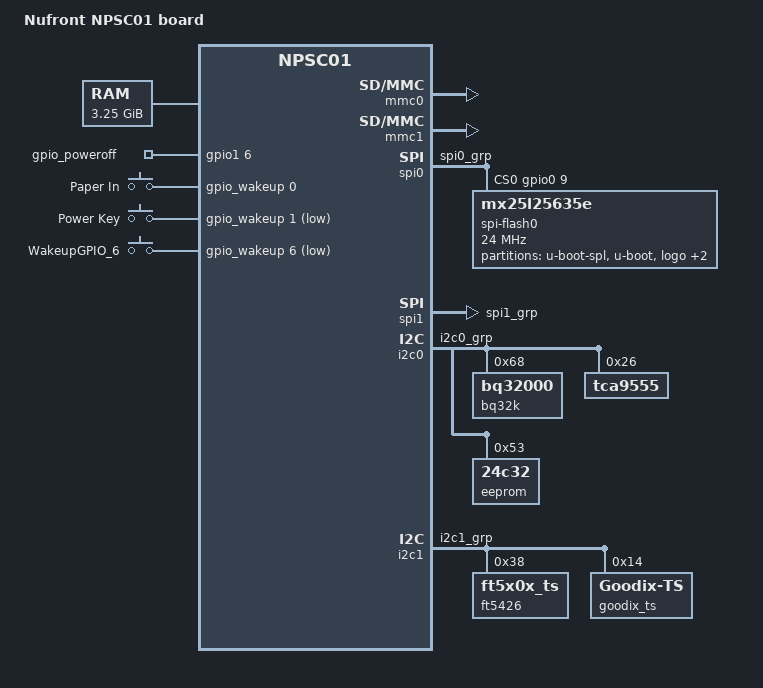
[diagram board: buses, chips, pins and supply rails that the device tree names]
/*
 * Copyright (C) 2014 Nufront Corporation
 *
 * This program is free software; you can redistribute it and/or
 * modify it under the terms of the GNU General Public License as
 * published by the Free Software Foundation version 2.
 *
 * This program is distributed "as is" WITHOUT ANY WARRANTY of any
 * kind, whether express or implied; without even the implied warranty
 * of MERCHANTABILITY or FITNESS FOR A PARTICULAR PURPOSE.  See the
 * GNU General Public License for more details.
 */

/dts-v1/;

#include "nufront-npsc01.dtsi"
#include "dt-bindings/gpio/gpio.h"
/ {
	model = "Nufront NPSC01 board";
	compatible = "nufront,npsc01-vm3-board", "nufront,npsc01";

	chosen {
		bootargs = "console=ttyS0,115200 mem=1024M root=/dev/mmcblk0p2 rw rootwait init=/init";
	};

	memory {
		reg = <0x90000000 0xd0000000>; /* 1024 MB */
	};
	soc {
		LVDS: LVDS {
			panel = "npsc01_lvds";
		};
	};

    gpio_poweroff {
          compatible = "gpio-poweroff";
          gpios = <&gpio1 6 GPIO_ACTIVE_HIGH>; /* A9GPIO[22] GPIO_ACTIVE_HIGH:0*/
    };

	gpio_keys {
		  compatible = "gpio-keys";
		  #address-cells = <1>;
		  #size-cells = <0>;
		 button0@0 {
			    label = "Paper In";
			    linux,code = <195>;  /*1->116 , S2: 116 will paper in wake-up from S2 , but S3 should set 1*/
			    gpios = <&gpio_wakeup 0 GPIO_ACTIVE_HIGH>; /*paper in active high, GPIO_ACTIVE_HIGH:0*/
			    gpio-key,wakeup;
				linux,can-disable;
                debounce-interval = <200>;
		  };
		  button1@1 {
		  	    label = "Power Key";
			    linux,code = <116>;
			    gpios = <&gpio_wakeup 1 GPIO_ACTIVE_LOW>; 
			    gpio-key,wakeup;
				linux,can-disable;
				debounce-interval = <20>;
		  };

		  button6@6 {
			    label = "WakeupGPIO_6";
			    linux,code = <7>;
			    gpios = <&gpio_wakeup 6 GPIO_ACTIVE_LOW>; 
			    gpio-key,wakeup;
		  };

	};	

};

	&pinctrl {
		spi0_pmx: spi0_pmx {
			groups = "spi0_grp";
			function = "spi0";
		};

		spi1_pmx: spi1_pmx {
			groups = "spi1_grp";
			function = "spi1";
		};

		pwm0_pin: pwm0-pins {	
	  	     	pins = "pwm0_grp";
	  	        function = "pwm0";
		};

		i2c0_pmx: i2c0_pmx {
			groups = "i2c0_grp";
			function = "i2c0";
		};
		i2c1_pmx: i2c1_pmx {
			groups = "i2c1_grp";
			function = "i2c1";
		};

	};

	&mmc0 {
		pinctrl-names = "mmc0_4bit";
		/*pinctrl-0 = <&mmc0_pin>;*/
		freq = <25000000>;
		ctype = < 1 >;   /*SD_CARD = 1 EMMC_CARD = 4 SDIO_CARD = 8*/
		is_8bit = < 0 >; /*false = 0 true = 1*/
		no_wp = < 0 >; /*false = 0 true = 1*/
		no_dp = < 0 >; /*false = 0 true = 1*/
		pm_caps = < 0 >; /*false = 0 true = 1*/
		caps = < 0x7aa6409 >;
		ocr_avail = <0x00ff8000>;
		drv_strength = < 0x55555555 >;
		drv_strength2 = < 0x55555555 >;
		scm_offset = < 0 >;
		scm_offset2 = < 0 >;
		status = "okay";
	};
	&mmc1 {
		npscxmci,card-type = <0x1>;
		npscxmci,bus-width = <8>;
		npscxmci,ocr-avail = <0xff8080>;
		npscxmci,max-frequency = <96000000>;
		npscxmci,noremoval;
		npscxmci,cap-ingnor-pm-notify;
		npscxmci,broken-timeout;
		npscxmci,cap-highspeed;
		npscxmci,cap-hs200-1v8;
		npscxmci,cap-hs400-1v8;
		status = "okay";
	};

	&spi0 {
		pinctrl-0 = <&spi0_pmx>;
		pinctrl-names = "default";
		status = "okay";
		cs-gpios = <&gpio0 9 0>;
		dma-rx-chan = "spi0_rx";
		dma-tx-chan = "spi0_tx";
		enable-dma;

		spi-flash0 {
			compatible = "mx25l25635e";
			#address-cells = <1>;
			#size-cells = <1>;
			reg = <0>;
			spi-max-frequency = <24000000>;
			m25p,use-dma;

			partition@0 {  /* 0xc00: spl, 0x8000: env */
				label = "u-boot-spl";
				reg = <0x0 0x10000>;
			};

			partition@10000 {
				label = "u-boot";
				reg = <0x10000 0xf0000>;
			};

			partition@100000 {
				label = "logo";
				reg = <0x100000 0x300000>;
			};

			partition@400000 {
				label = "kernel-ramfs";
				reg = <0x400000 0x1a00000>;
			};

			partition@1e00000 {
				label = "user";
				reg = <0x1e00000 0x200000>;
			};
		};
	};

	&spi1 {
		pinctrl-0 = <&spi1_pmx>;
		pinctrl-names = "default";
		status = "okay";
	};

	&i2c0 {
		pinctrl-0 = <&i2c0_pmx>;
		pinctrl-names = "default";
		status = "okay";

        bq32k@0x68{
            compatible ="bq32000";
            reg = <0x68>;
        };

        tca9555@0x26{
            compatible ="tca9555";
            reg = <0x26>;
        }; 

        eeprom@0x53{
            compatible ="24c32";
            reg = <0x53>;
        }; 

	};

	&i2c1 {
		pinctrl-0 = <&i2c1_pmx>;
		pinctrl-names = "default";
		status = "okay";
        
        /*CONFIG_TOUCHSCREEN_FT5X0X*/
		ft5426@0x38{
			compatible ="ft5x0x_ts";
			reg = <0x38>;
		};

        /*CONFIG_TOUCHSCREEN_GT9XX*/ 
		goodix_ts@0x14 {
			compatible = "Goodix-TS";
			reg = <0x14>;
		};	

	};

&lcd {
	pinctrl-names = "default";
	display_interface = <&LVDS>;
};

&backlight {
	pinctrl-names = "default";
	pinctrl-0 = <&pwm0_pin>;
	display_interface = <&LVDS>;
};

&lvdstx {
	display_interface = <&LVDS>;
};
